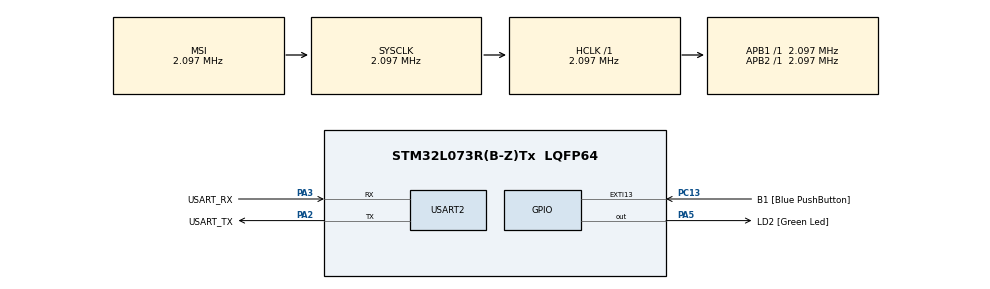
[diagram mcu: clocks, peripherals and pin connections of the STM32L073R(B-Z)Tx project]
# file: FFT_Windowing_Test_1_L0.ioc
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Mcu.Family=STM32L0
Mcu.Name=STM32L073R(B-Z)Tx
Mcu.Package=LQFP64
PA13.GPIO_Label=TMS
PA13.Mode=Serial_Wire
PA13.Signal=SYS_SWDIO
PA14.GPIO_Label=TCK
PA14.Mode=Serial_Wire
PA14.Signal=SYS_SWCLK
PA2.GPIO_Label=USART_TX
PA2.Mode=Asynchronous
PA2.Signal=USART2_TX
PA3.GPIO_Label=USART_RX
PA3.Mode=Asynchronous
PA3.Signal=USART2_RX
PA5.GPIO_Label=LD2 [Green Led]
PA5.Signal=GPIO_Output
PC13.GPIO_Label=B1 [Blue PushButton]
PC13.GPIO_ModeDefaultEXTI=GPIO_MODE_IT_FALLING
PC13.Signal=GPXTI13
PC14-OSC32_IN.Mode=LSE-External-Oscillator
PC14-OSC32_IN.Signal=RCC_OSC32_IN
PC15-OSC32_OUT.Mode=LSE-External-Oscillator
PC15-OSC32_OUT.Signal=RCC_OSC32_OUT
PH0-OSC_IN.GPIO_Label=MCO
PH0-OSC_IN.Mode=HSE-External-Clock-Source
PH0-OSC_IN.Signal=RCC_OSC_IN
ProjectManager.HeapSize=0x200
ProjectManager.StackSize=0x400
ProjectManager.TargetToolchain=STM32CubeIDE
RCC.AHBFreq_Value=2097000
RCC.APB1Freq_Value=2097000
RCC.APB1TimFreq_Value=2097000
RCC.APB2Freq_Value=2097000
RCC.APB2TimFreq_Value=2097000
RCC.HSE_VALUE=8000000
RCC.HSI16_VALUE=16000000
RCC.HSI48_VALUE=48000000
RCC.HSI_VALUE=16000000
RCC.MSI_VALUE=2097000
RCC.SYSCLKFreq_VALUE=2097000
RCC.VCOOutputFreq_Value=48000000
STMicroelectronics.X-CUBE-ALGOBUILD.1.4.0.LibraryCcDSPOoLibraryJjDSPOoLibrary=true
USART2.VirtualMode-Asynchronous=VM_ASYNC
VP_STMicroelectronics.X-CUBE-ALGOBUILD_VS_DSPOoLibraryJjLibrary_1.4.0_1.4.0.Mode=DSPOoLibraryJjLibrary
board=NUCLEO-L073RZ

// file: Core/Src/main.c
/* USER CODE BEGIN Header */
/**
  ******************************************************************************
  * @file           : main.c
  * @brief          : Main program body
  ******************************************************************************
  * @attention
  *
  * Copyright (c) 2024 STMicroelectronics.
  * All rights reserved.
  *
  * This software is licensed under terms that can be found in the LICENSE file
  * in the root directory of this software component.
  * If no LICENSE file comes with this software, it is provided AS-IS.
  *
  ******************************************************************************
  */
/* USER CODE END Header */
#include "main.h"

/* USER CODE BEGIN Includes */
#include "main.h"
#include "arm_math.h"
#include "string.h"
/* USER CODE END Includes */

UART_HandleTypeDef huart2;

/* USER CODE BEGIN PV */
#define UART_BUFFER_SIZE 2048
#define FFT_SIZE 1024

uint8_t uart_buffer[UART_BUFFER_SIZE];
float32_t input_data[FFT_SIZE];
float32_t fft_output[FFT_SIZE];
float32_t fft_magnitude[FFT_SIZE / 2];
float32_t window[FFT_SIZE]; // Hanning window
arm_rfft_fast_instance_f32 fft_instance;
/* USER CODE END PV */

void SystemClock_Config(void);
static void MX_GPIO_Init(void);
static void MX_USART2_UART_Init(void);
/* USER CODE BEGIN PFP */
void apply_window(float32_t *data, float32_t *window, uint32_t size);
void process_wav_fft(void);
/* USER CODE END PFP */

int main(void)
{

  /* MCU Configuration--------------------------------------------------------*/

  /* Reset of all peripherals, Initializes the Flash interface and the Systick. */
  HAL_Init();

  /* Configure the system clock */
  SystemClock_Config();

  /* Initialize all configured peripherals */
  MX_GPIO_Init();
  MX_USART2_UART_Init();
  /* USER CODE BEGIN 2 */
  // Initialize the FFT instance
      arm_rfft_fast_init_f32(&fft_instance, FFT_SIZE);

      // Generate Hanning window manually
       for (int i = 0; i < FFT_SIZE; i++) {
      	 window[i] = 0.5f * (1.0f - arm_cos_f32((2.0f * PI * i) / (FFT_SIZE - 1)));
       }

      // Generate Hanning window
      //arm_hann_window_f32(window, FFT_SIZE);
  /* USER CODE END 2 */

  /* Infinite loop */
  while (1)
  {
	  // Receive the .wav file data via UART
	          if (HAL_UART_Receive(&huart2, uart_buffer, UART_BUFFER_SIZE, HAL_MAX_DELAY) == HAL_OK)
	          {
	              // Convert received data to float32_t format (assumes 16-bit PCM data in .wav file)
	              for (int i = 0; i < FFT_SIZE; i++) {
	                  input_data[i] = (float32_t)((int16_t)(uart_buffer[2 * i] | (uart_buffer[2 * i + 1] << 8)));
	              }

	              // Apply the Hanning window to the input data
	              for (int i = 0; i < FFT_SIZE; i++) {
	              	input_data[i] *= window[i];
	              }

	              // Apply Hanning window to the input data
	              //apply_window(input_data, window, FFT_SIZE);

	              // Perform FFT
	              arm_rfft_fast_f32(&fft_instance, input_data, fft_output, 0);

	              // Compute the magnitude of the FFT output
	              arm_cmplx_mag_f32(fft_output, fft_magnitude, FFT_SIZE / 2);

	              // Send FFT output via UART
	              HAL_UART_Transmit(&huart2, (uint8_t *)fft_magnitude, sizeof(fft_magnitude), HAL_MAX_DELAY);
	          }

  }
}
void apply_window(float32_t *data, float32_t *window, uint32_t size) {
    for (uint32_t i = 0; i < size; i++) {
        data[i] *= window[i];
    }
}
void SystemClock_Config(void)
{
  RCC_OscInitTypeDef RCC_OscInitStruct = {0};
  RCC_ClkInitTypeDef RCC_ClkInitStruct = {0};
  RCC_PeriphCLKInitTypeDef PeriphClkInit = {0};

  /** Configure the main internal regulator output voltage
  */
  __HAL_PWR_VOLTAGESCALING_CONFIG(PWR_REGULATOR_VOLTAGE_SCALE1);

  /** Initializes the RCC Oscillators according to the specified parameters
  * in the RCC_OscInitTypeDef structure.
  */
  RCC_OscInitStruct.OscillatorType = RCC_OSCILLATORTYPE_MSI;
  RCC_OscInitStruct.MSIState = RCC_MSI_ON;
  RCC_OscInitStruct.MSICalibrationValue = 0;
  RCC_OscInitStruct.MSIClockRange = RCC_MSIRANGE_5;
  RCC_OscInitStruct.PLL.PLLState = RCC_PLL_NONE;
  if (HAL_RCC_OscConfig(&RCC_OscInitStruct) != HAL_OK)
  {
    Error_Handler();
  }

  /** Initializes the CPU, AHB and APB buses clocks
  */
  RCC_ClkInitStruct.ClockType = RCC_CLOCKTYPE_HCLK|RCC_CLOCKTYPE_SYSCLK
                              |RCC_CLOCKTYPE_PCLK1|RCC_CLOCKTYPE_PCLK2;
  RCC_ClkInitStruct.SYSCLKSource = RCC_SYSCLKSOURCE_MSI;
  RCC_ClkInitStruct.AHBCLKDivider = RCC_SYSCLK_DIV1;
  RCC_ClkInitStruct.APB1CLKDivider = RCC_HCLK_DIV1;
  RCC_ClkInitStruct.APB2CLKDivider = RCC_HCLK_DIV1;

  if (HAL_RCC_ClockConfig(&RCC_ClkInitStruct, FLASH_LATENCY_0) != HAL_OK)
  {
    Error_Handler();
  }
  PeriphClkInit.PeriphClockSelection = RCC_PERIPHCLK_USART2;
  PeriphClkInit.Usart2ClockSelection = RCC_USART2CLKSOURCE_PCLK1;
  if (HAL_RCCEx_PeriphCLKConfig(&PeriphClkInit) != HAL_OK)
  {
    Error_Handler();
  }
}

static void MX_USART2_UART_Init(void)
{

  huart2.Instance = USART2;
  huart2.Init.BaudRate = 115200;
  huart2.Init.WordLength = UART_WORDLENGTH_8B;
  huart2.Init.StopBits = UART_STOPBITS_1;
  huart2.Init.Parity = UART_PARITY_NONE;
  huart2.Init.Mode = UART_MODE_TX_RX;
  huart2.Init.HwFlowCtl = UART_HWCONTROL_NONE;
  huart2.Init.OverSampling = UART_OVERSAMPLING_16;
  huart2.Init.OneBitSampling = UART_ONE_BIT_SAMPLE_DISABLE;
  huart2.AdvancedInit.AdvFeatureInit = UART_ADVFEATURE_NO_INIT;
  if (HAL_UART_Init(&huart2) != HAL_OK)
  {
    Error_Handler();
  }

}

static void MX_GPIO_Init(void)
{
  GPIO_InitTypeDef GPIO_InitStruct = {0};

  /* GPIO Ports Clock Enable */
  __HAL_RCC_GPIOC_CLK_ENABLE();
  __HAL_RCC_GPIOH_CLK_ENABLE();
  __HAL_RCC_GPIOA_CLK_ENABLE();

  /*Configure GPIO pin Output Level */
  HAL_GPIO_WritePin(LD2_GPIO_Port, LD2_Pin, GPIO_PIN_RESET);

  /*Configure GPIO pin : B1_Pin */
  GPIO_InitStruct.Pin = B1_Pin;
  GPIO_InitStruct.Mode = GPIO_MODE_IT_FALLING;
  GPIO_InitStruct.Pull = GPIO_NOPULL;
  HAL_GPIO_Init(B1_GPIO_Port, &GPIO_InitStruct);

  /*Configure GPIO pin : LD2_Pin */
  GPIO_InitStruct.Pin = LD2_Pin;
  GPIO_InitStruct.Mode = GPIO_MODE_OUTPUT_PP;
  GPIO_InitStruct.Pull = GPIO_NOPULL;
  GPIO_InitStruct.Speed = GPIO_SPEED_FREQ_LOW;
  HAL_GPIO_Init(LD2_GPIO_Port, &GPIO_InitStruct);

}

void Error_Handler(void)
{
  __disable_irq();
  while (1)
  {
  }
}
